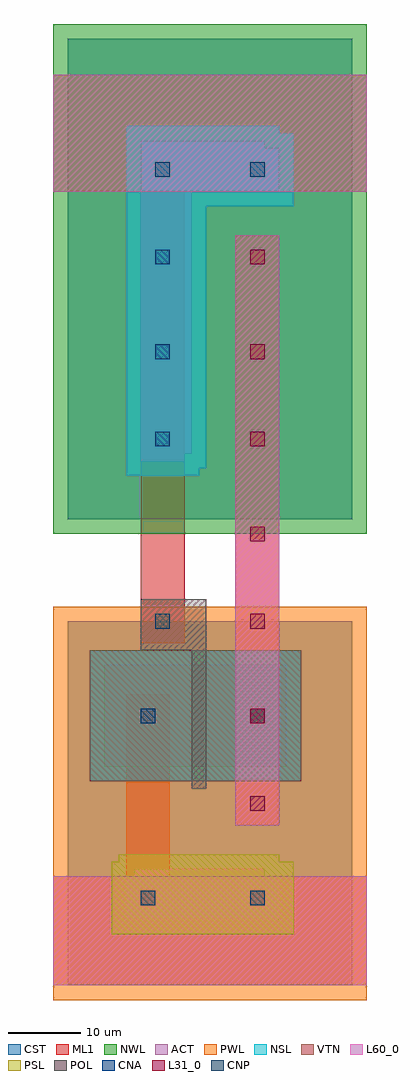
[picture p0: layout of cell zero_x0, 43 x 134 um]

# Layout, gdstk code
import gdstk
lib = gdstk.Library(unit=1e-6, precision=1e-09)
def R(c, l, rs):  # rectangles x0, y0, x1, y1
    for r in rs: c.add(gdstk.rectangle(r[:2], r[2:], *l))
NWL = (1, 0)
PWL = (2, 0)
CST = (3, 0)
ACT = (4, 0)
VTN = (5, 0)
POL = (7, 0)
NSL = (8, 0)
PSL = (9, 0)
CNA = (10, 0)
CNP = (11, 0)
ML1 = (12, 0)
L31_0 = (31, 0)
L60_0 = (60, 0)

zero_x0 = lib.new_cell('zero_x0')
R(zero_x0, NWL, [(-3,62,40,132)])
R(zero_x0, PWL, [(-3,-2,40,52)])
R(zero_x0, CST, [(-1,0,38,50), (-1,0,38,50), (-1,64,38,130), (-1,64,38,130)])
R(zero_x0, ACT, [(7,9,13,15), (8,9,26,16), (8,9,26,16), (22,9,28,15), (4,30,14,44), (4,30,14,44), (9,30,25,44), (9,30,25,44), (21,30,29,44), (21,30,29,44), (7,34,13,40), (22,34,28,40), (9,72,15,78), (9,73,16,116), (9,73,16,116), (9,84,15,90), (9,97,15,103), (9,109,15,115), (11,109,26,116), (11,109,26,116), (22,109,28,115)])
R(zero_x0, VTN, [(2,28,16,46), (2,28,16,46), (7,28,27,46), (7,28,27,46), (19,28,31,46), (19,28,31,46), (5,32,15,42), (20,32,30,42)])
R(zero_x0, POL, [(16,27,18,47), (16,27,18,47), (9,46,16,53), (9,46,18,53), (9,46,18,53)])
R(zero_x0, NSL, [(2,28,31,46), (7,70,17,118), (7,71,18,118), (7,107,30,117), (7,107,28,118)])
R(zero_x0, PSL, [(5,7,30,17), (6,7,28,18)])
R(zero_x0, CNA, [(9,11,11,13), (24,11,26,13), (9,36,11,38), (24,36,26,38), (11,74,13,76), (11,86,13,88), (11,99,13,101), (11,111,13,113), (24,111,26,113)])
R(zero_x0, CNP, [(11,49,13,51)])
R(zero_x0, ML1, [(-3,0,40,15), (7,4,13,40), (7,4,13,40), (7,9,13,15), (22,9,28,15), (22,22,28,103), (22,22,28,103), (22,22,28,103), (7,34,13,40), (22,34,28,40), (9,47,15,53), (9,47,15,120), (9,47,15,120), (9,72,15,78), (9,84,15,90), (9,97,15,103), (-3,109,40,125), (9,109,15,115), (22,109,28,115)])
R(zero_x0, L31_0, [(24,24,26,26), (24,36,26,38), (24,49,26,51), (24,61,26,63), (24,74,26,76), (24,86,26,88), (24,99,26,101)])
R(zero_x0, L60_0, [(-3,0,40,15), (22,22,28,103), (-3,109,40,125)])

lib.write_gds('zero_x0.gds')
